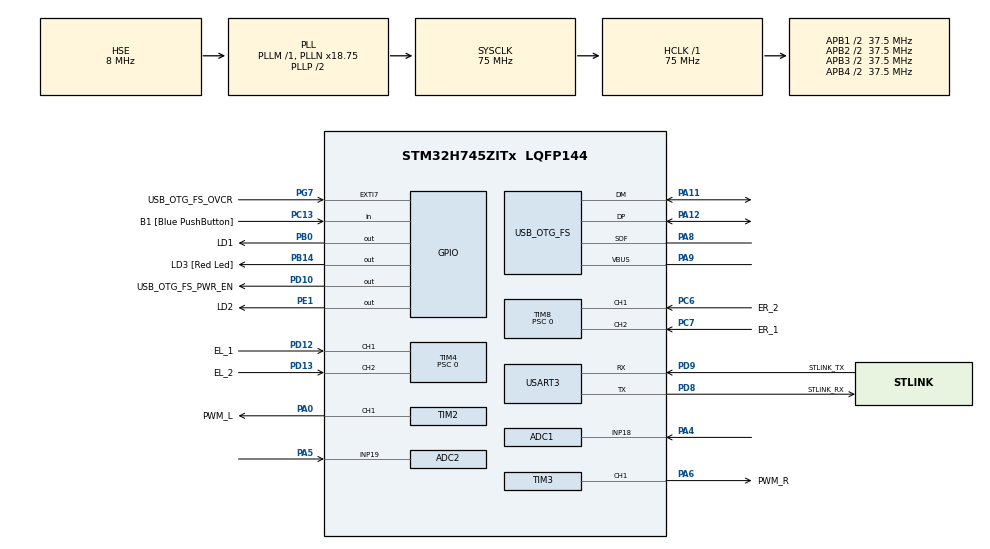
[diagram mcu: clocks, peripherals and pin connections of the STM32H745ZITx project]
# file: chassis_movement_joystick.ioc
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ADC1.Channel-0\#ChannelRegularConversion=ADC_CHANNEL_18
ADC1.NbrOfConversionFlag=1
ADC1.OffsetNumber-0\#ChannelRegularConversion=ADC_OFFSET_NONE
ADC1.OffsetSignedSaturation-0\#ChannelRegularConversion=DISABLE
ADC1.Rank-0\#ChannelRegularConversion=1
ADC1.SamplingTime-0\#ChannelRegularConversion=ADC_SAMPLETIME_1CYCLE_5
ADC1.master=1
ADC2.Channel-0\#ChannelRegularConversion=ADC_CHANNEL_19
ADC2.NbrOfConversionFlag=1
ADC2.OffsetNumber-0\#ChannelRegularConversion=ADC_OFFSET_NONE
ADC2.OffsetSignedSaturation-0\#ChannelRegularConversion=DISABLE
ADC2.Rank-0\#ChannelRegularConversion=1
ADC2.SamplingTime-0\#ChannelRegularConversion=ADC_SAMPLETIME_1CYCLE_5
CortexM4.IPs=FATFS_M4\:I,FREERTOS_M4\:I,IWDG2\:I,RCC,WWDG2\:I,DMA,BDMA,MDMA,NVIC2\:I,DEBUG,USB_DEVICE_M4\:I,USB_HOST_M4\:I,PDM2PCM_M4\:I,PWR,RESMGR_UTILITY,SYS_M4\:I,CORTEX_M4\:I,OPENAMP_M4\:I,VREFBUF,GPIO
CortexM7.IPs=FATFS_M7\:I,FREERTOS_M7\:I,IWDG1\:I,RCC\:I,WWDG1\:I,DMA\:I,BDMA\:I,MDMA\:I,NVIC1\:I,SYS\:I,USART3\:I,USB_OTG_FS\:I,CORTEX_M7\:I,DEBUG\:I,USB_DEVICE_M7\:I,USB_HOST_M7\:I,PDM2PCM_M7\:I,PWR\:I,RESMGR_UTILITY\:I,OPENAMP_M7\:I,VREFBUF\:I,GPIO\:I,TIM8\:I,TIM4\:I,TIM3\:I,TIM2\:I,TIM1\:I,ADC1\:I,ADC2\:I,TIM17\:I
CortexM7.Pins=PB0,PB14,PE1
Dma.Request0=USART3_RX
Dma.Request1=USART3_TX
Dma.USART3_RX.0.Direction=DMA_PERIPH_TO_MEMORY
Dma.USART3_RX.0.EventEnable=DISABLE
Dma.USART3_RX.0.FIFOMode=DMA_FIFOMODE_DISABLE
Dma.USART3_RX.0.Instance=DMA1_Stream0
Dma.USART3_RX.0.MemDataAlignment=DMA_MDATAALIGN_BYTE
Dma.USART3_RX.0.MemInc=DMA_MINC_ENABLE
Dma.USART3_RX.0.Mode=DMA_NORMAL
Dma.USART3_RX.0.PeriphDataAlignment=DMA_PDATAALIGN_BYTE
Dma.USART3_RX.0.PeriphInc=DMA_PINC_DISABLE
Dma.USART3_RX.0.Polarity=HAL_DMAMUX_REQ_GEN_RISING
Dma.USART3_RX.0.Priority=DMA_PRIORITY_LOW
Dma.USART3_RX.0.RequestNumber=1
Dma.USART3_RX.0.SignalID=NONE
Dma.USART3_RX.0.SyncEnable=DISABLE
Dma.USART3_RX.0.SyncPolarity=HAL_DMAMUX_SYNC_NO_EVENT
Dma.USART3_RX.0.SyncRequestNumber=1
Dma.USART3_RX.0.SyncSignalID=NONE
Dma.USART3_TX.1.Direction=DMA_MEMORY_TO_PERIPH
Dma.USART3_TX.1.EventEnable=DISABLE
Dma.USART3_TX.1.FIFOMode=DMA_FIFOMODE_DISABLE
Dma.USART3_TX.1.Instance=DMA1_Stream1
Dma.USART3_TX.1.MemDataAlignment=DMA_MDATAALIGN_BYTE
Dma.USART3_TX.1.MemInc=DMA_MINC_ENABLE
Dma.USART3_TX.1.Mode=DMA_NORMAL
Dma.USART3_TX.1.PeriphDataAlignment=DMA_PDATAALIGN_BYTE
Dma.USART3_TX.1.PeriphInc=DMA_PINC_DISABLE
Dma.USART3_TX.1.Polarity=HAL_DMAMUX_REQ_GEN_RISING
Dma.USART3_TX.1.Priority=DMA_PRIORITY_LOW
Dma.USART3_TX.1.RequestNumber=1
Dma.USART3_TX.1.SignalID=NONE
Dma.USART3_TX.1.SyncEnable=DISABLE
Dma.USART3_TX.1.SyncPolarity=HAL_DMAMUX_SYNC_NO_EVENT
Dma.USART3_TX.1.SyncRequestNumber=1
Dma.USART3_TX.1.SyncSignalID=NONE
FREERTOS_M7.Queues01=JoystickQueue,16,Data,0,Dynamic,NULL,NULL
FREERTOS_M7.Tasks01=defaultTask,24,128,StartDefaultTask,Default,NULL,Dynamic,NULL,NULL;Joystick,16,256,StartJoystick,Default,NULL,Dynamic,NULL,NULL;Chassis,24,128,StartChassis,Default,NULL,Dynamic,NULL,NULL
FREERTOS_M7.configUSE_NEWLIB_REENTRANT=1
Mcu.Family=STM32H7
Mcu.Name=STM32H745ZITx
Mcu.Package=LQFP144
NVIC1.DMA1_Stream0_IRQn=true\:5\:0\:false\:false\:true\:true\:false\:true\:true
NVIC1.DMA1_Stream1_IRQn=true\:5\:0\:false\:false\:true\:true\:false\:true\:true
NVIC1.PriorityGroup=NVIC_PRIORITYGROUP_4
NVIC1.TIM17_IRQn=true\:15\:0\:false\:false\:true\:false\:false\:true\:true
NVIC1.TIM1_UP_IRQn=true\:5\:0\:false\:false\:true\:true\:true\:true\:true
NVIC1.TimeBase=TIM17_IRQn
NVIC1.TimeBaseIP=TIM17
NVIC1.USART3_IRQn=true\:5\:0\:false\:false\:true\:true\:true\:true\:true
NVIC2.PriorityGroup=NVIC_PRIORITYGROUP_4
PA0.GPIO_Label=PWM_L
PA0.GPIO_PuPd=GPIO_NOPULL
PA0.GPIO_Speed=GPIO_SPEED_FREQ_HIGH
PA0.PinAttribute=CortexM7
PA0.Signal=S_TIM2_CH1_ETR
PA1.PinAttribute=CortexM7
PA1.Signal=ETH_REF_CLK
PA11.Mode=Device_Only
PA11.PinAttribute=CortexM7
PA11.Signal=USB_OTG_FS_DM
PA12.Mode=Device_Only
PA12.PinAttribute=CortexM7
PA12.Signal=USB_OTG_FS_DP
PA2.PinAttribute=CortexM7
PA2.Signal=ETH_MDIO
PA4.PinAttribute=CortexM7
PA4.Signal=ADCx_INP18
PA5.PinAttribute=CortexM7
PA5.Signal=ADCx_INP19
PA6.GPIO_Label=PWM_R
PA6.GPIO_PuPd=GPIO_NOPULL
PA6.GPIO_Speed=GPIO_SPEED_FREQ_HIGH
PA6.PinAttribute=CortexM7
PA6.Signal=S_TIM3_CH1
PA7.PinAttribute=CortexM7
PA7.Signal=ETH_CRS_DV
PA8.Mode=Activate_SOF_FS
PA8.PinAttribute=CortexM7
PA8.Signal=USB_OTG_FS_SOF
PA9.Mode=Activate_VBUS
PA9.PinAttribute=CortexM7
PA9.Signal=USB_OTG_FS_VBUS
PB0.GPIO_Label=LD1
PB0.GPIO_PuPd=GPIO_PULLUP
PB0.GPIO_Speed=GPIO_SPEED_FREQ_HIGH
PB0.PinAttribute=CortexM7
PB0.PinState=GPIO_PIN_RESET
PB0.Signal=GPIO_Output
PB13.PinAttribute=CortexM7
PB13.Signal=ETH_TXD1
PB14.GPIO_Label=LD3 [Red Led]
PB14.GPIO_PuPd=GPIO_PULLUP
PB14.GPIO_Speed=GPIO_SPEED_FREQ_HIGH
PB14.PinAttribute=CortexM7
PB14.PinState=GPIO_PIN_RESET
PB14.Signal=GPIO_Output
PC1.PinAttribute=CortexM7
PC1.Signal=ETH_MDC
PC13.GPIO_Label=B1 [Blue PushButton]
PC13.PinAttribute=Free
PC13.Signal=GPIO_Input
PC14-OSC32_IN\ (OSC32_IN).Mode=LSE-External-Oscillator
PC14-OSC32_IN\ (OSC32_IN).PinAttribute=CortexM7
PC14-OSC32_IN\ (OSC32_IN).Signal=RCC_OSC32_IN
PC15-OSC32_OUT\ (OSC32_OUT).Mode=LSE-External-Oscillator
PC15-OSC32_OUT\ (OSC32_OUT).PinAttribute=CortexM7
PC15-OSC32_OUT\ (OSC32_OUT).Signal=RCC_OSC32_OUT
PC4.PinAttribute=CortexM7
PC4.Signal=ETH_RXD0
PC5.PinAttribute=CortexM7
PC5.Signal=ETH_RXD1
PC6.GPIO_Label=ER_2
PC6.GPIO_PuPd=GPIO_PULLUP
PC6.GPIO_Speed=GPIO_SPEED_FREQ_HIGH
PC6.PinAttribute=CortexM7
PC6.Signal=S_TIM8_CH1
PC7.GPIO_Label=ER_1
PC7.GPIO_PuPd=GPIO_PULLUP
PC7.GPIO_Speed=GPIO_SPEED_FREQ_HIGH
PC7.PinAttribute=CortexM7
PC7.Signal=S_TIM8_CH2
PD10.GPIO_Label=USB_OTG_FS_PWR_EN
PD10.PinAttribute=Free
PD10.Signal=GPIO_Output
PD12.GPIO_Label=EL_1
PD12.GPIO_PuPd=GPIO_PULLUP
PD12.GPIO_Speed=GPIO_SPEED_FREQ_HIGH
PD12.PinAttribute=CortexM7
PD12.Signal=S_TIM4_CH1
PD13.GPIO_Label=EL_2
PD13.GPIO_PuPd=GPIO_PULLUP
PD13.GPIO_Speed=GPIO_SPEED_FREQ_HIGH
PD13.PinAttribute=CortexM7
PD13.Signal=S_TIM4_CH2
PD8.GPIO_Label=STLINK_RX
PD8.Mode=Asynchronous
PD8.PinAttribute=CortexM7
PD8.Signal=USART3_TX
PD9.GPIO_Label=STLINK_TX
PD9.Mode=Asynchronous
PD9.PinAttribute=CortexM7
PD9.Signal=USART3_RX
PE1.GPIO_Label=LD2
PE1.GPIO_PuPd=GPIO_PULLUP
PE1.GPIO_Speed=GPIO_SPEED_FREQ_HIGH
PE1.PinAttribute=CortexM7
PE1.PinState=GPIO_PIN_RESET
PE1.Signal=GPIO_Output
PG11.PinAttribute=CortexM7
PG11.Signal=ETH_TX_EN
PG13.PinAttribute=CortexM7
PG13.Signal=ETH_TXD0
PG7.GPIO_Label=USB_OTG_FS_OVCR
PG7.PinAttribute=Free
PG7.Signal=GPXTI7
PH0-OSC_IN\ (PH0).Mode=HSE-External-Clock-Source
PH0-OSC_IN\ (PH0).PinAttribute=CortexM7
PH0-OSC_IN\ (PH0).Signal=RCC_OSC_IN
PH1-OSC_OUT\ (PH1).PinAttribute=CortexM7
PH1-OSC_OUT\ (PH1).Signal=RCC_OSC_OUT
ProjectManager.HeapSize=M4-0x200,M7-0x200
ProjectManager.StackSize=M4-0x400,M7-0x400
ProjectManager.TargetToolchain=STM32CubeIDE
RCC.ADCFreq_Value=37500000
RCC.APB1Freq_Value=37500000
RCC.APB2Freq_Value=37500000
RCC.APB3Freq_Value=37500000
RCC.APB4Freq_Value=37500000
RCC.CortexFreq_Value=75000000
RCC.D1PPRE=RCC_APB3_DIV2
RCC.D2PPRE1=RCC_APB1_DIV2
RCC.D2PPRE2=RCC_APB2_DIV2
RCC.D3PPRE=RCC_APB4_DIV2
RCC.DIVM1=1
RCC.DIVM2=1
RCC.DIVM3=1
RCC.DIVN1=18
RCC.DIVN2=18
RCC.DIVN3=18
RCC.DIVP2=4
RCC.DIVQ3=3
RCC.HCLKFreq_Value=75000000
RCC.HSE_VALUE=8000000
RCC.PLL2FRACN=6144
RCC.PLL3FRACN=6144
RCC.PLLFRACN=6144
RCC.SYSCLKFreq_VALUE=75000000
RCC.SYSCLKSource=RCC_SYSCLKSOURCE_PLLCLK
RCC.SupplySource=PWR_DIRECT_SMPS_SUPPLY
RCC.USBCLockSelection=RCC_USBCLKSOURCE_PLL3
RCC.USBFreq_Value=50000000
SH.ADCx_INP18.0=ADC1_INP18,IN18-Single-Ended
SH.ADCx_INP19.0=ADC2_INP19,IN19-Single-Ended
SH.S_TIM2_CH1_ETR.0=TIM2_CH1,PWM Generation1 CH1
SH.S_TIM3_CH1.0=TIM3_CH1,PWM Generation1 CH1
SH.S_TIM4_CH1.0=TIM4_CH1,Encoder_Interface
SH.S_TIM4_CH2.0=TIM4_CH2,Encoder_Interface
SH.S_TIM8_CH1.0=TIM8_CH1,Encoder_Interface
SH.S_TIM8_CH2.0=TIM8_CH2,Encoder_Interface
TIM1.AutoReloadPreload=TIM_AUTORELOAD_PRELOAD_ENABLE
TIM1.Period=20000
TIM1.Prescaler=74
TIM2.AutoReloadPreload=TIM_AUTORELOAD_PRELOAD_ENABLE
TIM2.Channel-PWM\ Generation1\ CH1=TIM_CHANNEL_1
TIM2.Period=1950
TIM2.Prescaler=75
TIM3.AutoReloadPreload=TIM_AUTORELOAD_PRELOAD_ENABLE
TIM3.Channel-PWM\ Generation1\ CH1=TIM_CHANNEL_1
TIM3.Period=1950
TIM3.Prescaler=75
TIM4.AutoReloadPreload=TIM_AUTORELOAD_PRELOAD_ENABLE
TIM4.EncoderMode=TIM_ENCODERMODE_TI12
TIM4.IC1Filter=1
TIM4.IC1Polarity=TIM_ICPOLARITY_FALLING
TIM4.IC2Filter=1
TIM4.IC2Polarity=TIM_ICPOLARITY_FALLING
TIM4.Period=538
TIM4.Prescaler=0
TIM4.TIM_MasterOutputTrigger=TIM_TRGO_RESET
TIM8.AutoReloadPreload=TIM_AUTORELOAD_PRELOAD_ENABLE
TIM8.EncoderMode=TIM_ENCODERMODE_TI12
TIM8.IC1Filter=1
TIM8.IC2Filter=1
TIM8.Period=538
TIM8.Prescaler=0
USART3.VirtualMode-Asynchronous=VM_ASYNC
USB_OTG_FS.VirtualMode=Device_Only
VP_FREERTOS_M7_VS_CMSIS_V2.Mode=CMSIS_V2
VP_SYS_M4_VS_Systick.Mode=SysTick
VP_SYS_VS_tim17.Mode=TIM17
VP_TIM1_VS_ClockSourceINT.Mode=Internal
VP_TIM2_VS_ClockSourceINT.Mode=Internal
VP_TIM3_VS_ClockSourceINT.Mode=Internal
board=NUCLEO-H745ZI-Q

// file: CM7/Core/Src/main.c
/* USER CODE BEGIN Header */
/**
  ******************************************************************************
  * @file           : main.c
  * @brief          : Main program body
  ******************************************************************************
  * @attention
  *
  * Copyright (c) 2023 STMicroelectronics.
  * All rights reserved.
  *
  * This software is licensed under terms that can be found in the LICENSE file
  * in the root directory of this software component.
  * If no LICENSE file comes with this software, it is provided AS-IS.
  *
  ******************************************************************************
  */
/* USER CODE END Header */
#include "main.h"
#include "cmsis_os.h"

/* USER CODE BEGIN Includes */

#include "stdio.h"
#include "stdint.h"
/* USER CODE END Includes */

/* USER CODE BEGIN PD */

#ifndef HSEM_ID_0
#define HSEM_ID_0 (0U) /* HW semaphore 0*/
#endif

/* USER CODE END PD */

ADC_HandleTypeDef hadc1;
ADC_HandleTypeDef hadc2;

TIM_HandleTypeDef htim1;
TIM_HandleTypeDef htim2;
TIM_HandleTypeDef htim3;
TIM_HandleTypeDef htim4;
TIM_HandleTypeDef htim8;

UART_HandleTypeDef huart3;
DMA_HandleTypeDef hdma_usart3_rx;
DMA_HandleTypeDef hdma_usart3_tx;

PCD_HandleTypeDef hpcd_USB_OTG_FS;

/* Definitions for defaultTask */
osThreadId_t defaultTaskHandle;
const osThreadAttr_t defaultTask_attributes = {
  .name = "defaultTask",
  .stack_size = 128 * 4,
  .priority = (osPriority_t) osPriorityNormal,
};
/* Definitions for Joystick */
osThreadId_t JoystickHandle;
const osThreadAttr_t Joystick_attributes = {
  .name = "Joystick",
  .stack_size = 128 * 8,
  .priority = (osPriority_t) osPriorityNormal,
};
/* USER CODE BEGIN PV */
int c = 0;
uint16_t x_adc, y_adc;
float x_axis, y_axis;
char msg[50];
int in_min, in_max, out_min, out_max;
float x_map, y_map;
/* USER CODE END PV */

void SystemClock_Config(void);
void PeriphCommonClock_Config(void);
static void MX_GPIO_Init(void);
static void MX_DMA_Init(void);
static void MX_USART3_UART_Init(void);
static void MX_USB_OTG_FS_PCD_Init(void);
static void MX_TIM8_Init(void);
static void MX_TIM4_Init(void);
static void MX_TIM2_Init(void);
static void MX_TIM3_Init(void);
static void MX_TIM1_Init(void);
static void MX_ADC1_Init(void);
static void MX_ADC2_Init(void);
void StartDefaultTask(void *argument);
void StartJoystick(void *argument);

int main(void)
{
/* USER CODE BEGIN Boot_Mode_Sequence_0 */
  int32_t timeout;
/* USER CODE END Boot_Mode_Sequence_0 */

/* USER CODE BEGIN Boot_Mode_Sequence_1 */
  /* Wait until CPU2 boots and enters in stop mode or timeout*/
  timeout = 0xFFFF;
  while((__HAL_RCC_GET_FLAG(RCC_FLAG_D2CKRDY) != RESET) && (timeout-- > 0));
  if ( timeout < 0 )
  {
  Error_Handler();
  }
/* USER CODE END Boot_Mode_Sequence_1 */
  /* MCU Configuration--------------------------------------------------------*/

  /* Reset of all peripherals, Initializes the Flash interface and the Systick. */
  HAL_Init();

  /* Configure the system clock */
  SystemClock_Config();

/* Configure the peripherals common clocks */
  PeriphCommonClock_Config();
/* USER CODE BEGIN Boot_Mode_Sequence_2 */
/* When system initialization is finished, Cortex-M7 will release Cortex-M4 by means of
HSEM notification */
/*HW semaphore Clock enable*/
__HAL_RCC_HSEM_CLK_ENABLE();
/*Take HSEM */
HAL_HSEM_FastTake(HSEM_ID_0);
/*Release HSEM in order to notify the CPU2(CM4)*/
HAL_HSEM_Release(HSEM_ID_0,0);
/* wait until CPU2 wakes up from stop mode */
timeout = 0xFFFF;
while((__HAL_RCC_GET_FLAG(RCC_FLAG_D2CKRDY) == RESET) && (timeout-- > 0));
if ( timeout < 0 )
{
Error_Handler();
}
/* USER CODE END Boot_Mode_Sequence_2 */

  /* Initialize all configured peripherals */
  MX_GPIO_Init();
  MX_DMA_Init();
  MX_USART3_UART_Init();
  MX_USB_OTG_FS_PCD_Init();
  MX_TIM8_Init();
  MX_TIM4_Init();
  MX_TIM2_Init();
  MX_TIM3_Init();
  MX_TIM1_Init();
  MX_ADC1_Init();
  MX_ADC2_Init();

  /* Init scheduler */
  osKernelInitialize();

  /* Create the thread(s) */
  /* creation of defaultTask */
  defaultTaskHandle = osThreadNew(StartDefaultTask, NULL, &defaultTask_attributes);

  /* creation of Joystick */
  JoystickHandle = osThreadNew(StartJoystick, NULL, &Joystick_attributes);

  /* Start scheduler */
  osKernelStart();
  /* We should never get here as control is now taken by the scheduler */
  /* Infinite loop */
  while (1)
  {

  }
}

void SystemClock_Config(void)
{
  RCC_OscInitTypeDef RCC_OscInitStruct = {0};
  RCC_ClkInitTypeDef RCC_ClkInitStruct = {0};

  /** Supply configuration update enable
  */
  HAL_PWREx_ConfigSupply(PWR_DIRECT_SMPS_SUPPLY);

  /** Configure the main internal regulator output voltage
  */
  __HAL_PWR_VOLTAGESCALING_CONFIG(PWR_REGULATOR_VOLTAGE_SCALE3);

  while(!__HAL_PWR_GET_FLAG(PWR_FLAG_VOSRDY)) {}

  /** Initializes the RCC Oscillators according to the specified parameters
  * in the RCC_OscInitTypeDef structure.
  */
  RCC_OscInitStruct.OscillatorType = RCC_OSCILLATORTYPE_HSE;
  RCC_OscInitStruct.HSEState = RCC_HSE_BYPASS;
  RCC_OscInitStruct.PLL.PLLState = RCC_PLL_ON;
  RCC_OscInitStruct.PLL.PLLSource = RCC_PLLSOURCE_HSE;
  RCC_OscInitStruct.PLL.PLLM = 1;
  RCC_OscInitStruct.PLL.PLLN = 18;
  RCC_OscInitStruct.PLL.PLLP = 2;
  RCC_OscInitStruct.PLL.PLLQ = 2;
  RCC_OscInitStruct.PLL.PLLR = 2;
  RCC_OscInitStruct.PLL.PLLRGE = RCC_PLL1VCIRANGE_3;
  RCC_OscInitStruct.PLL.PLLVCOSEL = RCC_PLL1VCOMEDIUM;
  RCC_OscInitStruct.PLL.PLLFRACN = 6144;
  if (HAL_RCC_OscConfig(&RCC_OscInitStruct) != HAL_OK)
  {
    Error_Handler();
  }

  /** Initializes the CPU, AHB and APB buses clocks
  */
  RCC_ClkInitStruct.ClockType = RCC_CLOCKTYPE_HCLK|RCC_CLOCKTYPE_SYSCLK
                              |RCC_CLOCKTYPE_PCLK1|RCC_CLOCKTYPE_PCLK2
                              |RCC_CLOCKTYPE_D3PCLK1|RCC_CLOCKTYPE_D1PCLK1;
  RCC_ClkInitStruct.SYSCLKSource = RCC_SYSCLKSOURCE_PLLCLK;
  RCC_ClkInitStruct.SYSCLKDivider = RCC_SYSCLK_DIV1;
  RCC_ClkInitStruct.AHBCLKDivider = RCC_HCLK_DIV1;
  RCC_ClkInitStruct.APB3CLKDivider = RCC_APB3_DIV2;
  RCC_ClkInitStruct.APB1CLKDivider = RCC_APB1_DIV2;
  RCC_ClkInitStruct.APB2CLKDivider = RCC_APB2_DIV2;
  RCC_ClkInitStruct.APB4CLKDivider = RCC_APB4_DIV2;

  if (HAL_RCC_ClockConfig(&RCC_ClkInitStruct, FLASH_LATENCY_1) != HAL_OK)
  {
    Error_Handler();
  }
}

void PeriphCommonClock_Config(void)
{
  RCC_PeriphCLKInitTypeDef PeriphClkInitStruct = {0};

  /** Initializes the peripherals clock
  */
  PeriphClkInitStruct.PeriphClockSelection = RCC_PERIPHCLK_ADC;
  PeriphClkInitStruct.PLL2.PLL2M = 1;
  PeriphClkInitStruct.PLL2.PLL2N = 18;
  PeriphClkInitStruct.PLL2.PLL2P = 4;
  PeriphClkInitStruct.PLL2.PLL2Q = 2;
  PeriphClkInitStruct.PLL2.PLL2R = 2;
  PeriphClkInitStruct.PLL2.PLL2RGE = RCC_PLL2VCIRANGE_3;
  PeriphClkInitStruct.PLL2.PLL2VCOSEL = RCC_PLL2VCOMEDIUM;
  PeriphClkInitStruct.PLL2.PLL2FRACN = 6144;
  PeriphClkInitStruct.AdcClockSelection = RCC_ADCCLKSOURCE_PLL2;
  if (HAL_RCCEx_PeriphCLKConfig(&PeriphClkInitStruct) != HAL_OK)
  {
    Error_Handler();
  }
}

static void MX_ADC1_Init(void)
{

  ADC_MultiModeTypeDef multimode = {0};
  ADC_ChannelConfTypeDef sConfig = {0};

  /** Common config
  */
  hadc1.Instance = ADC1;
  hadc1.Init.ClockPrescaler = ADC_CLOCK_ASYNC_DIV1;
  hadc1.Init.Resolution = ADC_RESOLUTION_16B;
  hadc1.Init.ScanConvMode = ADC_SCAN_DISABLE;
  hadc1.Init.EOCSelection = ADC_EOC_SINGLE_CONV;
  hadc1.Init.LowPowerAutoWait = DISABLE;
  hadc1.Init.ContinuousConvMode = DISABLE;
  hadc1.Init.NbrOfConversion = 1;
  hadc1.Init.DiscontinuousConvMode = DISABLE;
  hadc1.Init.ExternalTrigConv = ADC_SOFTWARE_START;
  hadc1.Init.ExternalTrigConvEdge = ADC_EXTERNALTRIGCONVEDGE_NONE;
  hadc1.Init.ConversionDataManagement = ADC_CONVERSIONDATA_DR;
  hadc1.Init.Overrun = ADC_OVR_DATA_PRESERVED;
  hadc1.Init.LeftBitShift = ADC_LEFTBITSHIFT_NONE;
  hadc1.Init.OversamplingMode = DISABLE;
  if (HAL_ADC_Init(&hadc1) != HAL_OK)
  {
    Error_Handler();
  }

  /** Configure the ADC multi-mode
  */
  multimode.Mode = ADC_MODE_INDEPENDENT;
  if (HAL_ADCEx_MultiModeConfigChannel(&hadc1, &multimode) != HAL_OK)
  {
    Error_Handler();
  }

  /** Configure Regular Channel
  */
  sConfig.Channel = ADC_CHANNEL_18;
  sConfig.Rank = ADC_REGULAR_RANK_1;
  sConfig.SamplingTime = ADC_SAMPLETIME_1CYCLE_5;
  sConfig.SingleDiff = ADC_SINGLE_ENDED;
  sConfig.OffsetNumber = ADC_OFFSET_NONE;
  sConfig.Offset = 0;
  sConfig.OffsetSignedSaturation = DISABLE;
  if (HAL_ADC_ConfigChannel(&hadc1, &sConfig) != HAL_OK)
  {
    Error_Handler();
  }

}

static void MX_ADC2_Init(void)
{

  ADC_ChannelConfTypeDef sConfig = {0};

  /** Common config
  */
  hadc2.Instance = ADC2;
  hadc2.Init.ClockPrescaler = ADC_CLOCK_ASYNC_DIV1;
  hadc2.Init.Resolution = ADC_RESOLUTION_16B;
  hadc2.Init.ScanConvMode = ADC_SCAN_DISABLE;
  hadc2.Init.EOCSelection = ADC_EOC_SINGLE_CONV;
  hadc2.Init.LowPowerAutoWait = DISABLE;
  hadc2.Init.ContinuousConvMode = DISABLE;
  hadc2.Init.NbrOfConversion = 1;
  hadc2.Init.DiscontinuousConvMode = DISABLE;
  hadc2.Init.ExternalTrigConv = ADC_SOFTWARE_START;
  hadc2.Init.ExternalTrigConvEdge = ADC_EXTERNALTRIGCONVEDGE_NONE;
  hadc2.Init.ConversionDataManagement = ADC_CONVERSIONDATA_DR;
  hadc2.Init.Overrun = ADC_OVR_DATA_PRESERVED;
  hadc2.Init.LeftBitShift = ADC_LEFTBITSHIFT_NONE;
  hadc2.Init.OversamplingMode = DISABLE;
  if (HAL_ADC_Init(&hadc2) != HAL_OK)
  {
    Error_Handler();
  }

  /** Configure Regular Channel
  */
  sConfig.Channel = ADC_CHANNEL_19;
  sConfig.Rank = ADC_REGULAR_RANK_1;
  sConfig.SamplingTime = ADC_SAMPLETIME_1CYCLE_5;
  sConfig.SingleDiff = ADC_SINGLE_ENDED;
  sConfig.OffsetNumber = ADC_OFFSET_NONE;
  sConfig.Offset = 0;
  sConfig.OffsetSignedSaturation = DISABLE;
  if (HAL_ADC_ConfigChannel(&hadc2, &sConfig) != HAL_OK)
  {
    Error_Handler();
  }

}

static void MX_TIM1_Init(void)
{

  TIM_ClockConfigTypeDef sClockSourceConfig = {0};
  TIM_MasterConfigTypeDef sMasterConfig = {0};

  htim1.Instance = TIM1;
  htim1.Init.Prescaler = 74;
  htim1.Init.CounterMode = TIM_COUNTERMODE_UP;
  htim1.Init.Period = 20000;
  htim1.Init.ClockDivision = TIM_CLOCKDIVISION_DIV1;
  htim1.Init.RepetitionCounter = 0;
  htim1.Init.AutoReloadPreload = TIM_AUTORELOAD_PRELOAD_ENABLE;
  if (HAL_TIM_Base_Init(&htim1) != HAL_OK)
  {
    Error_Handler();
  }
  sClockSourceConfig.ClockSource = TIM_CLOCKSOURCE_INTERNAL;
  if (HAL_TIM_ConfigClockSource(&htim1, &sClockSourceConfig) != HAL_OK)
  {
    Error_Handler();
  }
  sMasterConfig.MasterOutputTrigger = TIM_TRGO_RESET;
  sMasterConfig.MasterOutputTrigger2 = TIM_TRGO2_RESET;
  sMasterConfig.MasterSlaveMode = TIM_MASTERSLAVEMODE_DISABLE;
  if (HAL_TIMEx_MasterConfigSynchronization(&htim1, &sMasterConfig) != HAL_OK)
  {
    Error_Handler();
  }

}

static void MX_TIM2_Init(void)
{

  TIM_ClockConfigTypeDef sClockSourceConfig = {0};
  TIM_MasterConfigTypeDef sMasterConfig = {0};
  TIM_OC_InitTypeDef sConfigOC = {0};

  htim2.Instance = TIM2;
  htim2.Init.Prescaler = 75;
  htim2.Init.CounterMode = TIM_COUNTERMODE_UP;
  htim2.Init.Period = 1950;
  htim2.Init.ClockDivision = TIM_CLOCKDIVISION_DIV1;
  htim2.Init.AutoReloadPreload = TIM_AUTORELOAD_PRELOAD_ENABLE;
  if (HAL_TIM_Base_Init(&htim2) != HAL_OK)
  {
    Error_Handler();
  }
  sClockSourceConfig.ClockSource = TIM_CLOCKSOURCE_INTERNAL;
  if (HAL_TIM_ConfigClockSource(&htim2, &sClockSourceConfig) != HAL_OK)
  {
    Error_Handler();
  }
  if (HAL_TIM_PWM_Init(&htim2) != HAL_OK)
  {
    Error_Handler();
  }
  sMasterConfig.MasterOutputTrigger = TIM_TRGO_RESET;
  sMasterConfig.MasterSlaveMode = TIM_MASTERSLAVEMODE_DISABLE;
  if (HAL_TIMEx_MasterConfigSynchronization(&htim2, &sMasterConfig) != HAL_OK)
  {
    Error_Handler();
  }
  sConfigOC.OCMode = TIM_OCMODE_PWM1;
  sConfigOC.Pulse = 0;
  sConfigOC.OCPolarity = TIM_OCPOLARITY_HIGH;
  sConfigOC.OCFastMode = TIM_OCFAST_DISABLE;
  if (HAL_TIM_PWM_ConfigChannel(&htim2, &sConfigOC, TIM_CHANNEL_1) != HAL_OK)
  {
    Error_Handler();
  }
  HAL_TIM_MspPostInit(&htim2);

}

static void MX_TIM3_Init(void)
{

  TIM_ClockConfigTypeDef sClockSourceConfig = {0};
  TIM_MasterConfigTypeDef sMasterConfig = {0};
  TIM_OC_InitTypeDef sConfigOC = {0};

  htim3.Instance = TIM3;
  htim3.Init.Prescaler = 75;
  htim3.Init.CounterMode = TIM_COUNTERMODE_UP;
  htim3.Init.Period = 1950;
  htim3.Init.ClockDivision = TIM_CLOCKDIVISION_DIV1;
  htim3.Init.AutoReloadPreload = TIM_AUTORELOAD_PRELOAD_ENABLE;
  if (HAL_TIM_Base_Init(&htim3) != HAL_OK)
  {
    Error_Handler();
  }
  sClockSourceConfig.ClockSource = TIM_CLOCKSOURCE_INTERNAL;
  if (HAL_TIM_ConfigClockSource(&htim3, &sClockSourceConfig) != HAL_OK)
  {
    Error_Handler();
  }
  if (HAL_TIM_PWM_Init(&htim3) != HAL_OK)
  {
    Error_Handler();
  }
  sMasterConfig.MasterOutputTrigger = TIM_TRGO_RESET;
  sMasterConfig.MasterSlaveMode = TIM_MASTERSLAVEMODE_DISABLE;
  if (HAL_TIMEx_MasterConfigSynchronization(&htim3, &sMasterConfig) != HAL_OK)
  {
    Error_Handler();
  }
  sConfigOC.OCMode = TIM_OCMODE_PWM1;
  sConfigOC.Pulse = 0;
  sConfigOC.OCPolarity = TIM_OCPOLARITY_HIGH;
  sConfigOC.OCFastMode = TIM_OCFAST_DISABLE;
  if (HAL_TIM_PWM_ConfigChannel(&htim3, &sConfigOC, TIM_CHANNEL_1) != HAL_OK)
  {
    Error_Handler();
  }
  HAL_TIM_MspPostInit(&htim3);

}

static void MX_TIM4_Init(void)
{

  TIM_Encoder_InitTypeDef sConfig = {0};
  TIM_MasterConfigTypeDef sMasterConfig = {0};

  htim4.Instance = TIM4;
  htim4.Init.Prescaler = 0;
  htim4.Init.CounterMode = TIM_COUNTERMODE_UP;
  htim4.Init.Period = 538;
  htim4.Init.ClockDivision = TIM_CLOCKDIVISION_DIV1;
  htim4.Init.AutoReloadPreload = TIM_AUTORELOAD_PRELOAD_ENABLE;
  sConfig.EncoderMode = TIM_ENCODERMODE_TI12;
  sConfig.IC1Polarity = TIM_ICPOLARITY_FALLING;
  sConfig.IC1Selection = TIM_ICSELECTION_DIRECTTI;
  sConfig.IC1Prescaler = TIM_ICPSC_DIV1;
  sConfig.IC1Filter = 1;
  sConfig.IC2Polarity = TIM_ICPOLARITY_FALLING;
  sConfig.IC2Selection = TIM_ICSELECTION_DIRECTTI;
  sConfig.IC2Prescaler = TIM_ICPSC_DIV1;
  sConfig.IC2Filter = 1;
  if (HAL_TIM_Encoder_Init(&htim4, &sConfig) != HAL_OK)
  {
    Error_Handler();
  }
  sMasterConfig.MasterOutputTrigger = TIM_TRGO_RESET;
  sMasterConfig.MasterSlaveMode = TIM_MASTERSLAVEMODE_DISABLE;
  if (HAL_TIMEx_MasterConfigSynchronization(&htim4, &sMasterConfig) != HAL_OK)
  {
    Error_Handler();
  }

}

static void MX_TIM8_Init(void)
{

  TIM_Encoder_InitTypeDef sConfig = {0};
  TIM_MasterConfigTypeDef sMasterConfig = {0};

  htim8.Instance = TIM8;
  htim8.Init.Prescaler = 0;
  htim8.Init.CounterMode = TIM_COUNTERMODE_UP;
  htim8.Init.Period = 538;
  htim8.Init.ClockDivision = TIM_CLOCKDIVISION_DIV1;
  htim8.Init.RepetitionCounter = 0;
  htim8.Init.AutoReloadPreload = TIM_AUTORELOAD_PRELOAD_ENABLE;
  sConfig.EncoderMode = TIM_ENCODERMODE_TI12;
  sConfig.IC1Polarity = TIM_ICPOLARITY_RISING;
  sConfig.IC1Selection = TIM_ICSELECTION_DIRECTTI;
  sConfig.IC1Prescaler = TIM_ICPSC_DIV1;
  sConfig.IC1Filter = 1;
  sConfig.IC2Polarity = TIM_ICPOLARITY_RISING;
  sConfig.IC2Selection = TIM_ICSELECTION_DIRECTTI;
  sConfig.IC2Prescaler = TIM_ICPSC_DIV1;
  sConfig.IC2Filter = 1;
  if (HAL_TIM_Encoder_Init(&htim8, &sConfig) != HAL_OK)
  {
    Error_Handler();
  }
  sMasterConfig.MasterOutputTrigger = TIM_TRGO_RESET;
  sMasterConfig.MasterOutputTrigger2 = TIM_TRGO2_RESET;
  sMasterConfig.MasterSlaveMode = TIM_MASTERSLAVEMODE_DISABLE;
  if (HAL_TIMEx_MasterConfigSynchronization(&htim8, &sMasterConfig) != HAL_OK)
  {
    Error_Handler();
  }

}

static void MX_USART3_UART_Init(void)
{

  huart3.Instance = USART3;
  huart3.Init.BaudRate = 115200;
  huart3.Init.WordLength = UART_WORDLENGTH_8B;
  huart3.Init.StopBits = UART_STOPBITS_1;
  huart3.Init.Parity = UART_PARITY_NONE;
  huart3.Init.Mode = UART_MODE_TX_RX;
  huart3.Init.HwFlowCtl = UART_HWCONTROL_NONE;
  huart3.Init.OverSampling = UART_OVERSAMPLING_16;
  huart3.Init.OneBitSampling = UART_ONE_BIT_SAMPLE_DISABLE;
  huart3.Init.ClockPrescaler = UART_PRESCALER_DIV1;
  huart3.AdvancedInit.AdvFeatureInit = UART_ADVFEATURE_NO_INIT;
  if (HAL_UART_Init(&huart3) != HAL_OK)
  {
    Error_Handler();
  }
  if (HAL_UARTEx_SetTxFifoThreshold(&huart3, UART_TXFIFO_THRESHOLD_1_8) != HAL_OK)
  {
    Error_Handler();
  }
  if (HAL_UARTEx_SetRxFifoThreshold(&huart3, UART_RXFIFO_THRESHOLD_1_8) != HAL_OK)
  {
    Error_Handler();
  }
  if (HAL_UARTEx_DisableFifoMode(&huart3) != HAL_OK)
  {
    Error_Handler();
  }

}

static void MX_USB_OTG_FS_PCD_Init(void)
{

  hpcd_USB_OTG_FS.Instance = USB_OTG_FS;
  hpcd_USB_OTG_FS.Init.dev_endpoints = 9;
  hpcd_USB_OTG_FS.Init.speed = PCD_SPEED_FULL;
  hpcd_USB_OTG_FS.Init.dma_enable = DISABLE;
  hpcd_USB_OTG_FS.Init.phy_itface = PCD_PHY_EMBEDDED;
  hpcd_USB_OTG_FS.Init.Sof_enable = DISABLE;
  hpcd_USB_OTG_FS.Init.low_power_enable = DISABLE;
  hpcd_USB_OTG_FS.Init.lpm_enable = DISABLE;
  hpcd_USB_OTG_FS.Init.battery_charging_enable = ENABLE;
  hpcd_USB_OTG_FS.Init.vbus_sensing_enable = ENABLE;
  hpcd_USB_OTG_FS.Init.use_dedicated_ep1 = DISABLE;
  if (HAL_PCD_Init(&hpcd_USB_OTG_FS) != HAL_OK)
  {
    Error_Handler();
  }

}

static void MX_DMA_Init(void)
{

  /* DMA controller clock enable */
  __HAL_RCC_DMA1_CLK_ENABLE();

  /* DMA interrupt init */
  /* DMA1_Stream0_IRQn interrupt configuration */
  HAL_NVIC_SetPriority(DMA1_Stream0_IRQn, 5, 0);
  HAL_NVIC_EnableIRQ(DMA1_Stream0_IRQn);
  /* DMA1_Stream1_IRQn interrupt configuration */
  HAL_NVIC_SetPriority(DMA1_Stream1_IRQn, 5, 0);
  HAL_NVIC_EnableIRQ(DMA1_Stream1_IRQn);

}

static void MX_GPIO_Init(void)
{
  GPIO_InitTypeDef GPIO_InitStruct = {0};

  /* GPIO Ports Clock Enable */
  __HAL_RCC_GPIOC_CLK_ENABLE();
  __HAL_RCC_GPIOH_CLK_ENABLE();
  __HAL_RCC_GPIOA_CLK_ENABLE();
  __HAL_RCC_GPIOB_CLK_ENABLE();
  __HAL_RCC_GPIOD_CLK_ENABLE();
  __HAL_RCC_GPIOE_CLK_ENABLE();

  /*Configure GPIO pin Output Level */
  HAL_GPIO_WritePin(GPIOB, LD1_Pin|LD3_Pin, GPIO_PIN_RESET);

  /*Configure GPIO pin Output Level */
  HAL_GPIO_WritePin(LD2_GPIO_Port, LD2_Pin, GPIO_PIN_RESET);

  /*Configure GPIO pins : LD1_Pin LD3_Pin */
  GPIO_InitStruct.Pin = LD1_Pin|LD3_Pin;
  GPIO_InitStruct.Mode = GPIO_MODE_OUTPUT_PP;
  GPIO_InitStruct.Pull = GPIO_PULLUP;
  GPIO_InitStruct.Speed = GPIO_SPEED_FREQ_HIGH;
  HAL_GPIO_Init(GPIOB, &GPIO_InitStruct);

  /*Configure GPIO pin : LD2_Pin */
  GPIO_InitStruct.Pin = LD2_Pin;
  GPIO_InitStruct.Mode = GPIO_MODE_OUTPUT_PP;
  GPIO_InitStruct.Pull = GPIO_PULLUP;
  GPIO_InitStruct.Speed = GPIO_SPEED_FREQ_HIGH;
  HAL_GPIO_Init(LD2_GPIO_Port, &GPIO_InitStruct);

}

void StartDefaultTask(void *argument)
{
  for(;;)
  {
    osDelay(1);
  }
}

void StartJoystick(void *argument)
{
  /* USER CODE BEGIN StartJoystick */
  /* Infinite loop */
  for(;;)
  {
    //c = c + 1;
    HAL_ADC_Start(&hadc1);
    HAL_ADC_PollForConversion(&hadc1, HAL_MAX_DELAY);
    x_adc = HAL_ADC_GetValue(&hadc1);
    osDelay(10U);

    HAL_ADC_Start(&hadc2);
    HAL_ADC_PollForConversion(&hadc2, HAL_MAX_DELAY);
    y_adc = HAL_ADC_GetValue(&hadc2);
    osDelay(10U);

    x_axis = x_adc / 1000;
    y_axis = y_adc / 1000;
    in_min = 1;
    in_max = 65;
    out_min = -1;
    out_max = 1;

    x_map = (x_axis - in_min) * (out_max - out_min) / (in_max - in_min) + out_min;
    y_map = (y_axis - in_min) * (out_max - out_min) / (in_max - in_min) + out_min;

    snprintf(msg, 50, "CH_1: %.2f, CH_2: %.2f \r\n", x_map, y_map);
    HAL_UART_Transmit(&huart3,(uint8_t*) msg,sizeof(msg),10);// Sending in normal mode
	osDelay(250U);
  }
  /* USER CODE END StartJoystick */
}

void HAL_TIM_PeriodElapsedCallback(TIM_HandleTypeDef *htim)
{
  if (htim->Instance == TIM17) {
    HAL_IncTick();
  }
}

void Error_Handler(void)
{
  __disable_irq();
  while (1)
  {
  }
}
